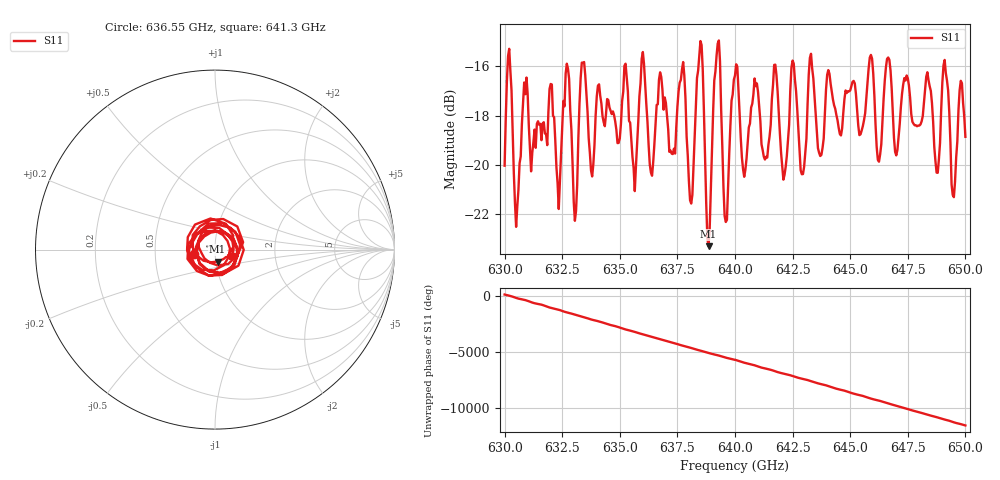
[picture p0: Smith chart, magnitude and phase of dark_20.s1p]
!Created with skrf (http://scikit-rf.org).
# GHz S RI R 50.0
!freq ReS11 ImS11
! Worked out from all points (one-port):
!   401 points, 630 GHz to 650 GHz, reference 50 ohm
!   lowest |S11| = -23.3 dB at 638.85 GHz (marker M1), VSWR 1.15, Z = 51 - j6.83 ohm
!   |S11| at or under -10 dB: start of sweep to end of sweep
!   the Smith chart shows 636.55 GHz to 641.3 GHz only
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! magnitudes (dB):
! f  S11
! 630 GHz  -20.0
! 630.2 GHz  -15.3
! 630.5 GHz  -22.5
! 630.9 GHz  -17.1
! 632.5 GHz  -18.5
! 635 GHz  -18.9
! 637.5 GHz  -17.6
! 637.75 GHz  -15.8
! 638.1 GHz  -21.6
! 638.5 GHz  -15.0
! 638.85 GHz  -23.3
! 639.2 GHz  -15.6
! 639.6 GHz  -22.3
! 640 GHz  -16.4
! 640.4 GHz  -20.5
! 641.75 GHz  -15.9
! 642.15 GHz  -20.4
! 642.5 GHz  -15.8
! 642.95 GHz  -20.4
! 643.3 GHz  -15.5
! 643.7 GHz  -19.6
! 645 GHz  -17.0
! 645.9 GHz  -15.5
! 646.25 GHz  -19.9
! 646.6 GHz  -15.7
! 647 GHz  -19.6
! 647.5 GHz  -16.5
! 650 GHz  -18.9
